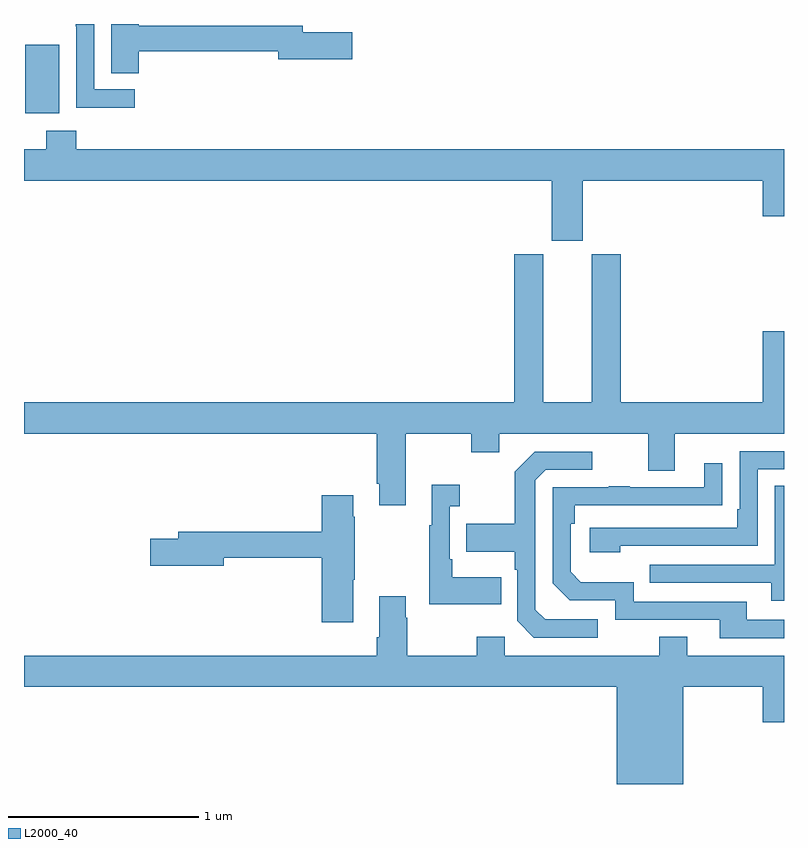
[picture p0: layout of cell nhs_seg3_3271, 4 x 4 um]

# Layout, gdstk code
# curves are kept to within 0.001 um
import gdstk
lib = gdstk.Library(unit=1e-6, precision=1e-09)
def R(c, l, rs):  # rectangles x0, y0, x1, y1
    for r in rs: c.add(gdstk.rectangle(r[:2], r[2:], *l))
def P(c, l, *ps):  # polygons
    for p in ps: c.add(gdstk.Polygon(p, *l))
L2000_40 = (2000, 40)

nhs_seg3_3271 = lib.new_cell('nhs_seg3_3271')
R(nhs_seg3_3271, L2000_40, [(281.006,707.93,281.185,708.291)])
P(nhs_seg3_3271, L2000_40, [(281.603,708.256),(282.338,708.256),(282.338,708.214),(282.727,708.214),(282.727,708.356),(282.466,708.356),(282.466,708.392),(281.603,708.392),(281.603,708.4),(281.459,708.4),(281.459,708.142),(281.603,708.142)],
  [(281.584,708.057),(281.37,708.057),(281.37,708.4),(281.272,708.4),(281.272,708.388),(281.274,708.388),(281.274,707.959),(281.584,707.959)],
  [(283.942,707.576),(284.888,707.576),(284.888,707.388),(285,707.388),(285,707.74),(281.276,707.74),(281.276,707.839),(281.116,707.839),(281.116,707.74),(281,707.74),(281,707.576),(283.778,707.576),(283.778,707.259),(283.942,707.259)],
  [(283.009,706.244),(283.354,706.244),(283.354,706.145),(283.501,706.145),(283.501,706.244),(284.285,706.244),(284.285,706.05),(284.425,706.05),(284.425,706.244),(285,706.244),(285,706.783),(284.888,706.783),(284.888,706.408),(284.141,706.408),(284.141,707.187),(283.988,707.187),(283.988,706.408),(283.732,706.408),(283.732,707.187),(283.58,707.187),(283.58,706.408),(281,706.408),(281,706.244),(282.857,706.244),(282.857,705.979),(282.869,705.979),(282.869,705.867),(283.009,705.867)],
  [(284.138,705.654),(284.862,705.654),(284.862,706.056),(285,706.056),(285,706.152),(284.766,706.152),(284.766,705.847),(284.753,705.847),(284.753,705.75),(283.977,705.75),(283.977,705.62),(284.138,705.62)],
  [(284.02,705.267),(283.743,705.267),(283.692,705.318),(283.692,705.999),(283.746,706.053),(283.99,706.053),(283.99,706.149),(283.689,706.149),(283.584,706.043),(283.584,705.771),(283.327,705.771),(283.327,705.623),(283.584,705.623),(283.584,705.527),(283.596,705.527),(283.596,705.258),(283.683,705.171),(284.02,705.171)],
  [(285,705.264),(284.803,705.264),(284.803,705.36),(284.208,705.36),(284.208,705.463),(283.931,705.463),(283.878,705.516),(283.878,705.77),(283.898,705.77),(283.898,705.867),(284.675,705.868),(284.675,706.087),(284.579,706.087),(284.579,705.963),(284.189,705.963),(284.189,705.968),(284.077,705.968),(284.077,705.963),(283.782,705.963),(283.782,705.456),(283.872,705.366),(284.112,705.366),(284.112,705.264),(284.663,705.264),(284.663,705.168),(285,705.168)],
  [(283.511,705.487),(283.255,705.487),(283.255,705.583),(283.242,705.583),(283.242,705.863),(283.294,705.863),(283.294,705.976),(283.145,705.976),(283.145,705.763),(283.134,705.763),(283.134,705.347),(283.511,705.347)],
  [(285,705.971),(284.952,705.971),(284.952,705.555),(284.293,705.555),(284.293,705.459),(284.933,705.459),(284.933,705.365),(285,705.365)],
  [(282.733,705.475),(282.741,705.475),(282.741,705.806),(282.733,705.806),(282.733,705.919),(282.566,705.919),(282.566,705.728),(281.813,705.728),(281.813,705.692),(281.664,705.692),(281.664,705.55),(282.052,705.55),(282.052,705.592),(282.566,705.592),(282.566,705.252),(282.733,705.252)],
  [(284.47,704.912),(284.888,704.912),(284.888,704.724),(285,704.724),(285,705.076),(284.491,705.076),(284.491,705.175),(284.344,705.175),(284.344,705.076),(283.53,705.076),(283.53,705.175),(283.384,705.175),(283.384,705.076),(283.017,705.076),(283.017,705.275),(283.009,705.275),(283.009,705.388),(282.869,705.388),(282.869,705.172),(282.857,705.172),(282.857,705.076),(281,705.076),(281,704.912),(284.12,704.912),(284.12,704.4),(284.47,704.4)])

lib.write_gds('nhs_seg3_3271.gds')
